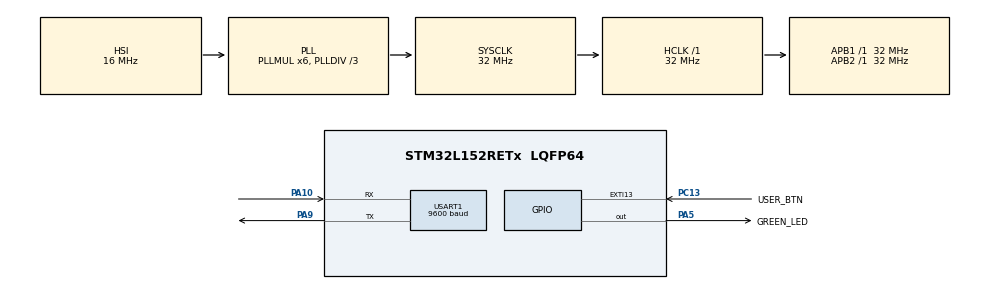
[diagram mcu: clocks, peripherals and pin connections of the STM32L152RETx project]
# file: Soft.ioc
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Dma.Request0=USART1_RX
Dma.Request1=USART1_TX
Dma.USART1_RX.0.Direction=DMA_PERIPH_TO_MEMORY
Dma.USART1_RX.0.Instance=DMA1_Channel5
Dma.USART1_RX.0.MemDataAlignment=DMA_MDATAALIGN_BYTE
Dma.USART1_RX.0.MemInc=DMA_MINC_ENABLE
Dma.USART1_RX.0.Mode=DMA_CIRCULAR
Dma.USART1_RX.0.PeriphDataAlignment=DMA_PDATAALIGN_BYTE
Dma.USART1_RX.0.PeriphInc=DMA_PINC_DISABLE
Dma.USART1_RX.0.Priority=DMA_PRIORITY_LOW
Dma.USART1_TX.1.Direction=DMA_MEMORY_TO_PERIPH
Dma.USART1_TX.1.Instance=DMA1_Channel4
Dma.USART1_TX.1.MemDataAlignment=DMA_MDATAALIGN_BYTE
Dma.USART1_TX.1.MemInc=DMA_MINC_ENABLE
Dma.USART1_TX.1.Mode=DMA_NORMAL
Dma.USART1_TX.1.PeriphDataAlignment=DMA_PDATAALIGN_BYTE
Dma.USART1_TX.1.PeriphInc=DMA_PINC_DISABLE
Dma.USART1_TX.1.Priority=DMA_PRIORITY_LOW
Mcu.Family=STM32L1
Mcu.Name=STM32L152RETx
Mcu.Package=LQFP64
NVIC.DMA1_Channel4_IRQn=true\:0\:1\:false\:false\:true
NVIC.DMA1_Channel5_IRQn=true\:0\:1\:false\:false\:true
NVIC.EXTI15_10_IRQn=true\:0\:2\:false\:false\:true
NVIC.PriorityGroup=NVIC_PRIORITYGROUP_2
NVIC.USART1_IRQn=true\:0\:1\:false\:false\:true
PA10.Mode=Asynchronous
PA10.Signal=USART1_RX
PA13.Mode=Serial-Wire
PA13.Signal=SYS_JTMS-SWDIO
PA14.Mode=Serial-Wire
PA14.Signal=SYS_JTCK-SWCLK
PA5.GPIO_Label=GREEN_LED
PA5.GPIO_Speed=GPIO_SPEED_FREQ_MEDIUM
PA5.Signal=GPIO_Output
PA9.Mode=Asynchronous
PA9.Signal=USART1_TX
PC13-WKUP2.GPIO_Label=USER_BTN
PC13-WKUP2.GPIO_ModeDefaultEXTI=GPIO_MODE_IT_FALLING
PC13-WKUP2.Signal=GPXTI13
ProjectManager.HeapSize=0x200
ProjectManager.StackSize=0x400
ProjectManager.TargetToolchain=MDK-ARM V5
RCC.AHBFreq_Value=32000000
RCC.APB1Freq_Value=32000000
RCC.APB1TimFreq_Value=32000000
RCC.APB2Freq_Value=32000000
RCC.APB2TimFreq_Value=32000000
RCC.HCLKFreq_Value=32000000
RCC.HSE_VALUE=8000000
RCC.HSI_VALUE=16000000
RCC.LSE_VALUE=32768
RCC.MSI_VALUE=2097000
RCC.PLLDIV=RCC_PLL_DIV3
RCC.PLLMUL=RCC_PLL_MUL6
RCC.RTCClockSelectionVirtual=RCC_RTCCLKSOURCE_LSE
RCC.SYSCLKFreq_VALUE=32000000
RCC.SYSCLKSource=RCC_SYSCLKSOURCE_PLLCLK
RCC.USBOutput=48000000
RCC.VCOOutputFreq_Value=96000000
USART1.BaudRate=9600
board=NUCLEO-L152RE

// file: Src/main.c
/**
  ******************************************************************************
  * File Name          : main.c
  * Description        : Main program body
  ******************************************************************************
  *
  * COPYRIGHT(c) 2016 STMicroelectronics
  *
  * Redistribution and use in source and binary forms, with or without modification,
  * are permitted provided that the following conditions are met:
  *   1. Redistributions of source code must retain the above copyright notice,
  *      this list of conditions and the following disclaimer.
  *   2. Redistributions in binary form must reproduce the above copyright notice,
  *      this list of conditions and the following disclaimer in the documentation
  *      and/or other materials provided with the distribution.
  *   3. Neither the name of STMicroelectronics nor the names of its contributors
  *      may be used to endorse or promote products derived from this software
  *      without specific prior written permission.
  *
  * THIS SOFTWARE IS PROVIDED BY THE COPYRIGHT HOLDERS AND CONTRIBUTORS "AS IS"
  * AND ANY EXPRESS OR IMPLIED WARRANTIES, INCLUDING, BUT NOT LIMITED TO, THE
  * IMPLIED WARRANTIES OF MERCHANTABILITY AND FITNESS FOR A PARTICULAR PURPOSE ARE
  * DISCLAIMED. IN NO EVENT SHALL THE COPYRIGHT HOLDER OR CONTRIBUTORS BE LIABLE
  * FOR ANY DIRECT, INDIRECT, INCIDENTAL, SPECIAL, EXEMPLARY, OR CONSEQUENTIAL
  * DAMAGES (INCLUDING, BUT NOT LIMITED TO, PROCUREMENT OF SUBSTITUTE GOODS OR
  * SERVICES; LOSS OF USE, DATA, OR PROFITS; OR BUSINESS INTERRUPTION) HOWEVER
  * CAUSED AND ON ANY THEORY OF LIABILITY, WHETHER IN CONTRACT, STRICT LIABILITY,
  * OR TORT (INCLUDING NEGLIGENCE OR OTHERWISE) ARISING IN ANY WAY OUT OF THE USE
  * OF THIS SOFTWARE, EVEN IF ADVISED OF THE POSSIBILITY OF SUCH DAMAGE.
  *
  ******************************************************************************
  */
#include "stm32l1xx_hal.h"

/* USER CODE BEGIN Includes */
#include "misc.h"
#include "pmtk_hw_config.h"
#include "pmtk_driver.h"

/* USER CODE END Includes */

UART_HandleTypeDef huart1;
DMA_HandleTypeDef hdma_usart1_rx;
DMA_HandleTypeDef hdma_usart1_tx;

/* USER CODE BEGIN PV */
/* Private variables ---------------------------------------------------------*/

/* USER CODE END PV */

void SystemClock_Config(void);
static void MX_GPIO_Init(void);
static void MX_DMA_Init(void);
static void MX_USART1_UART_Init(void);

/* USER CODE BEGIN PFP */
/* Private function prototypes -----------------------------------------------*/

/* USER CODE END PFP */

int main(void)
{
  /* USER CODE BEGIN 1 */
	RMChex hxfr;
	uint32_t EEPROM_index=0;
	uint32_t enable_logging=0;
  /* USER CODE END 1 */

  /* MCU Configuration----------------------------------------------------------*/

  /* Reset of all peripherals, Initializes the Flash interface and the Systick. */
  HAL_Init();

  /* Configure the system clock */
  SystemClock_Config();

  /* Initialize all configured peripherals */
  MX_GPIO_Init();
  MX_DMA_Init();
  MX_USART1_UART_Init();

  /* USER CODE BEGIN 2 */
	UART_Init();
  /* USER CODE END 2 */

  /* Infinite loop */
  /* USER CODE BEGIN WHILE */
	enable_logging=0;
	L86_Send("$PMTK314,0,1,0,0,0,0,0,0,0,0,0,0,0,0,0,0,0,0,0"); //Rmc frame enabled
	L86_Send("$PMTK220,1000"); //1sec interval
	L86_Send("$PMTK001,285,1"); //pps after first fix
  while (1)
  {
		if(rx_rmc_ready==1 && enable_logging==1)
		{
			/* If RMC frame detected, extract it and save data to EEPROM */
			if(RMC_Convert(rmc_buffer_array, &hxfr)==0)
			{
				EEPROM_WriteByte(EEPROM_index,(hxfr.UnixTime & 0x000000FF));
				EEPROM_WriteByte(EEPROM_index+1,(hxfr.UnixTime & 0x0000FF00)>>8);
				EEPROM_WriteByte(EEPROM_index+2,(hxfr.UnixTime & 0x00FF0000)>>16);
				EEPROM_WriteByte(EEPROM_index+3,(hxfr.UnixTime & 0xFF000000)>>24);

				EEPROM_WriteByte(EEPROM_index+7,hxfr.FixFlag);

				EEPROM_WriteByte(EEPROM_index+11,(hxfr.Latitude & 0x000000FF));
				EEPROM_WriteByte(EEPROM_index+4,(hxfr.Latitude & 0x0000FF00)>>8);
				EEPROM_WriteByte(EEPROM_index+5,(hxfr.Latitude & 0x00FF0000)>>16);
				EEPROM_WriteByte(EEPROM_index+6,(hxfr.Latitude & 0xFF000000)>>24);

				EEPROM_WriteByte(EEPROM_index+15,(hxfr.Longitude & 0x000000FF));
				EEPROM_WriteByte(EEPROM_index+8,(hxfr.Longitude & 0x0000FF00)>>8);
				EEPROM_WriteByte(EEPROM_index+9,(hxfr.Longitude & 0x00FF0000)>>16);
				EEPROM_WriteByte(EEPROM_index+10,(hxfr.Longitude & 0xFF000000)>>24);

				EEPROM_WriteByte(EEPROM_index+13,(hxfr.Speed & 0x00FF));
				EEPROM_WriteByte(EEPROM_index+14,(hxfr.Speed & 0xFF00)>>8);

				EEPROM_WriteByte(EEPROM_index+12,(hxfr.Checksum));

				EEPROM_index+=0x10;

				//Toggle mainboard led
				HAL_GPIO_TogglePin(GPIOA,GPIO_PIN_5);

				//1h30 autonomy
				if(EEPROM_index>=0x3840)
				{
					enable_logging=0;
					OnboardLed(0);
				}
			}

			/* Clear flag */
			rx_rmc_ready=0;
		}

		if(user_btn_flag)
		{
			if(enable_logging==0)
			{
				EEPROM_index=0;
				enable_logging=1;
				OnboardLed(1);
			}
			else
			{
				enable_logging=0;
				OnboardLed(0);
			}

			HAL_Delay(200);
			user_btn_flag=0;
		}

  /* USER CODE END WHILE */

  }
}

/** System Clock Configuration
*/
void SystemClock_Config(void)
{

  RCC_OscInitTypeDef RCC_OscInitStruct;
  RCC_ClkInitTypeDef RCC_ClkInitStruct;

  __HAL_RCC_PWR_CLK_ENABLE();

  __HAL_PWR_VOLTAGESCALING_CONFIG(PWR_REGULATOR_VOLTAGE_SCALE1);

  RCC_OscInitStruct.OscillatorType = RCC_OSCILLATORTYPE_HSI;
  RCC_OscInitStruct.HSIState = RCC_HSI_ON;
  RCC_OscInitStruct.HSICalibrationValue = 16;
  RCC_OscInitStruct.PLL.PLLState = RCC_PLL_ON;
  RCC_OscInitStruct.PLL.PLLSource = RCC_PLLSOURCE_HSI;
  RCC_OscInitStruct.PLL.PLLMUL = RCC_PLL_MUL6;
  RCC_OscInitStruct.PLL.PLLDIV = RCC_PLL_DIV3;
  HAL_RCC_OscConfig(&RCC_OscInitStruct);

  RCC_ClkInitStruct.ClockType = RCC_CLOCKTYPE_HCLK|RCC_CLOCKTYPE_SYSCLK
                              |RCC_CLOCKTYPE_PCLK1|RCC_CLOCKTYPE_PCLK2;
  RCC_ClkInitStruct.SYSCLKSource = RCC_SYSCLKSOURCE_PLLCLK;
  RCC_ClkInitStruct.AHBCLKDivider = RCC_SYSCLK_DIV1;
  RCC_ClkInitStruct.APB1CLKDivider = RCC_HCLK_DIV1;
  RCC_ClkInitStruct.APB2CLKDivider = RCC_HCLK_DIV1;
  HAL_RCC_ClockConfig(&RCC_ClkInitStruct, FLASH_LATENCY_1);

  HAL_SYSTICK_Config(HAL_RCC_GetHCLKFreq()/1000);

  HAL_SYSTICK_CLKSourceConfig(SYSTICK_CLKSOURCE_HCLK);

  /* SysTick_IRQn interrupt configuration */
  HAL_NVIC_SetPriority(SysTick_IRQn, 0, 0);
}

/* USART1 init function */
void MX_USART1_UART_Init(void)
{

  huart1.Instance = USART1;
  huart1.Init.BaudRate = 9600;
  huart1.Init.WordLength = UART_WORDLENGTH_8B;
  huart1.Init.StopBits = UART_STOPBITS_1;
  huart1.Init.Parity = UART_PARITY_NONE;
  huart1.Init.Mode = UART_MODE_TX_RX;
  huart1.Init.HwFlowCtl = UART_HWCONTROL_NONE;
  huart1.Init.OverSampling = UART_OVERSAMPLING_16;
  HAL_UART_Init(&huart1);

}

void MX_DMA_Init(void)
{
  /* DMA controller clock enable */
  __HAL_RCC_DMA1_CLK_ENABLE();

  /* DMA interrupt init */
  /* DMA1_Channel4_IRQn interrupt configuration */
  HAL_NVIC_SetPriority(DMA1_Channel4_IRQn, 0, 1);
  HAL_NVIC_EnableIRQ(DMA1_Channel4_IRQn);
  /* DMA1_Channel5_IRQn interrupt configuration */
  HAL_NVIC_SetPriority(DMA1_Channel5_IRQn, 0, 1);
  HAL_NVIC_EnableIRQ(DMA1_Channel5_IRQn);

}

/** Configure pins as
        * Analog
        * Input
        * Output
        * EVENT_OUT
        * EXTI
        * Free pins are configured automatically as Analog (this feature is enabled through
        * the Code Generation settings)
*/
void MX_GPIO_Init(void)
{

  GPIO_InitTypeDef GPIO_InitStruct;

  /* GPIO Ports Clock Enable */
  __HAL_RCC_GPIOC_CLK_ENABLE();
  __HAL_RCC_GPIOH_CLK_ENABLE();
  __HAL_RCC_GPIOA_CLK_ENABLE();
  __HAL_RCC_GPIOB_CLK_ENABLE();
  __HAL_RCC_GPIOD_CLK_ENABLE();

  /*Configure GPIO pin : USER_BTN_Pin */
  GPIO_InitStruct.Pin = USER_BTN_Pin;
  GPIO_InitStruct.Mode = GPIO_MODE_IT_FALLING;
  GPIO_InitStruct.Pull = GPIO_NOPULL;
  HAL_GPIO_Init(USER_BTN_GPIO_Port, &GPIO_InitStruct);

  /*Configure GPIO pins : PC14 PC15 PC0 PC1
                           PC2 PC3 PC4 PC5
                           PC6 PC7 PC8 PC9
                           PC10 PC11 PC12 */
  GPIO_InitStruct.Pin = GPIO_PIN_14|GPIO_PIN_15|GPIO_PIN_0|GPIO_PIN_1
                          |GPIO_PIN_2|GPIO_PIN_3|GPIO_PIN_4|GPIO_PIN_5
                          |GPIO_PIN_6|GPIO_PIN_7|GPIO_PIN_8|GPIO_PIN_9
                          |GPIO_PIN_10|GPIO_PIN_11|GPIO_PIN_12;
  GPIO_InitStruct.Mode = GPIO_MODE_ANALOG;
  GPIO_InitStruct.Pull = GPIO_NOPULL;
  HAL_GPIO_Init(GPIOC, &GPIO_InitStruct);

  /*Configure GPIO pins : PH0 PH1 */
  GPIO_InitStruct.Pin = GPIO_PIN_0|GPIO_PIN_1;
  GPIO_InitStruct.Mode = GPIO_MODE_ANALOG;
  GPIO_InitStruct.Pull = GPIO_NOPULL;
  HAL_GPIO_Init(GPIOH, &GPIO_InitStruct);

  /*Configure GPIO pins : PA0 PA1 PA2 PA3
                           PA4 PA6 PA7 PA8
                           PA11 PA12 PA15 */
  GPIO_InitStruct.Pin = GPIO_PIN_0|GPIO_PIN_1|GPIO_PIN_2|GPIO_PIN_3
                          |GPIO_PIN_4|GPIO_PIN_6|GPIO_PIN_7|GPIO_PIN_8
                          |GPIO_PIN_11|GPIO_PIN_12|GPIO_PIN_15;
  GPIO_InitStruct.Mode = GPIO_MODE_ANALOG;
  GPIO_InitStruct.Pull = GPIO_NOPULL;
  HAL_GPIO_Init(GPIOA, &GPIO_InitStruct);

  /*Configure GPIO pin : GREEN_LED_Pin */
  GPIO_InitStruct.Pin = GREEN_LED_Pin;
  GPIO_InitStruct.Mode = GPIO_MODE_OUTPUT_PP;
  GPIO_InitStruct.Pull = GPIO_NOPULL;
  GPIO_InitStruct.Speed = GPIO_SPEED_FREQ_MEDIUM;
  HAL_GPIO_Init(GREEN_LED_GPIO_Port, &GPIO_InitStruct);

  /*Configure GPIO pins : PB0 PB1 PB2 PB10
                           PB11 PB12 PB13 PB14
                           PB15 PB3 PB4 PB5
                           PB6 PB7 PB8 PB9 */
  GPIO_InitStruct.Pin = GPIO_PIN_0|GPIO_PIN_1|GPIO_PIN_2|GPIO_PIN_10
                          |GPIO_PIN_11|GPIO_PIN_12|GPIO_PIN_13|GPIO_PIN_14
                          |GPIO_PIN_15|GPIO_PIN_3|GPIO_PIN_4|GPIO_PIN_5
                          |GPIO_PIN_6|GPIO_PIN_7|GPIO_PIN_8|GPIO_PIN_9;
  GPIO_InitStruct.Mode = GPIO_MODE_ANALOG;
  GPIO_InitStruct.Pull = GPIO_NOPULL;
  HAL_GPIO_Init(GPIOB, &GPIO_InitStruct);

  /*Configure GPIO pin : PD2 */
  GPIO_InitStruct.Pin = GPIO_PIN_2;
  GPIO_InitStruct.Mode = GPIO_MODE_ANALOG;
  GPIO_InitStruct.Pull = GPIO_NOPULL;
  HAL_GPIO_Init(GPIOD, &GPIO_InitStruct);

  /*Configure GPIO pin Output Level */
  HAL_GPIO_WritePin(GREEN_LED_GPIO_Port, GREEN_LED_Pin, GPIO_PIN_RESET);

  /* EXTI interrupt init*/
  HAL_NVIC_SetPriority(EXTI15_10_IRQn, 0, 2);
  HAL_NVIC_EnableIRQ(EXTI15_10_IRQn);

}

/************************ (C) COPYRIGHT STMicroelectronics *****END OF FILE****/
